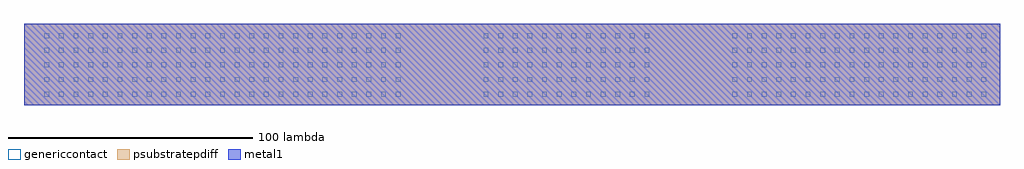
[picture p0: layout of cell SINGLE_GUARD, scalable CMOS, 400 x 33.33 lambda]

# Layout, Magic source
magic
tech scmos
magscale 1 6
<< psubstratepdiff >>
rect 0 0 2400 200
<< metal1 >>
rect 0 0 2400 200
use CONT  CONT_0
transform 1 0 164 0 1 63
box -6 -6 6 6
use CONT  CONT_1
transform 1 0 128 0 1 63
box -6 -6 6 6
use CONT  CONT_2
transform 1 0 92 0 1 63
box -6 -6 6 6
use CONT  CONT_3
transform 1 0 236 0 1 27
box -6 -6 6 6
use CONT  CONT_4
transform 1 0 200 0 1 27
box -6 -6 6 6
use CONT  CONT_5
transform 1 0 164 0 1 27
box -6 -6 6 6
use CONT  CONT_6
transform 1 0 524 0 1 63
box -6 -6 6 6
use CONT  CONT_7
transform 1 0 488 0 1 63
box -6 -6 6 6
use CONT  CONT_8
transform 1 0 452 0 1 63
box -6 -6 6 6
use CONT  CONT_9
transform 1 0 416 0 1 63
box -6 -6 6 6
use CONT  CONT_10
transform 1 0 380 0 1 63
box -6 -6 6 6
use CONT  CONT_11
transform 1 0 344 0 1 63
box -6 -6 6 6
use CONT  CONT_12
transform 1 0 308 0 1 63
box -6 -6 6 6
use CONT  CONT_13
transform 1 0 272 0 1 63
box -6 -6 6 6
use CONT  CONT_14
transform 1 0 596 0 1 99
box -6 -6 6 6
use CONT  CONT_15
transform 1 0 560 0 1 99
box -6 -6 6 6
use CONT  CONT_16
transform 1 0 524 0 1 99
box -6 -6 6 6
use CONT  CONT_17
transform 1 0 488 0 1 99
box -6 -6 6 6
use CONT  CONT_18
transform 1 0 452 0 1 99
box -6 -6 6 6
use CONT  CONT_19
transform 1 0 416 0 1 99
box -6 -6 6 6
use CONT  CONT_20
transform 1 0 380 0 1 99
box -6 -6 6 6
use CONT  CONT_21
transform 1 0 344 0 1 99
box -6 -6 6 6
use CONT  CONT_22
transform 1 0 308 0 1 99
box -6 -6 6 6
use CONT  CONT_23
transform 1 0 272 0 1 99
box -6 -6 6 6
use CONT  CONT_24
transform 1 0 236 0 1 99
box -6 -6 6 6
use CONT  CONT_25
transform 1 0 200 0 1 99
box -6 -6 6 6
use CONT  CONT_26
transform 1 0 164 0 1 99
box -6 -6 6 6
use CONT  CONT_27
transform 1 0 128 0 1 99
box -6 -6 6 6
use CONT  CONT_28
transform 1 0 236 0 1 63
box -6 -6 6 6
use CONT  CONT_29
transform 1 0 200 0 1 63
box -6 -6 6 6
use CONT  CONT_30
transform 1 0 596 0 1 63
box -6 -6 6 6
use CONT  CONT_31
transform 1 0 596 0 1 135
box -6 -6 6 6
use CONT  CONT_32
transform 1 0 560 0 1 135
box -6 -6 6 6
use CONT  CONT_33
transform 1 0 524 0 1 135
box -6 -6 6 6
use CONT  CONT_34
transform 1 0 488 0 1 135
box -6 -6 6 6
use CONT  CONT_35
transform 1 0 452 0 1 135
box -6 -6 6 6
use CONT  CONT_36
transform 1 0 416 0 1 135
box -6 -6 6 6
use CONT  CONT_37
transform 1 0 380 0 1 135
box -6 -6 6 6
use CONT  CONT_38
transform 1 0 344 0 1 135
box -6 -6 6 6
use CONT  CONT_39
transform 1 0 596 0 1 171
box -6 -6 6 6
use CONT  CONT_40
transform 1 0 560 0 1 171
box -6 -6 6 6
use CONT  CONT_41
transform 1 0 524 0 1 171
box -6 -6 6 6
use CONT  CONT_42
transform 1 0 488 0 1 171
box -6 -6 6 6
use CONT  CONT_43
transform 1 0 452 0 1 171
box -6 -6 6 6
use CONT  CONT_44
transform 1 0 416 0 1 171
box -6 -6 6 6
use CONT  CONT_45
transform 1 0 380 0 1 171
box -6 -6 6 6
use CONT  CONT_46
transform 1 0 344 0 1 171
box -6 -6 6 6
use CONT  CONT_47
transform 1 0 308 0 1 171
box -6 -6 6 6
use CONT  CONT_48
transform 1 0 272 0 1 171
box -6 -6 6 6
use CONT  CONT_49
transform 1 0 236 0 1 171
box -6 -6 6 6
use CONT  CONT_50
transform 1 0 200 0 1 171
box -6 -6 6 6
use CONT  CONT_51
transform 1 0 164 0 1 171
box -6 -6 6 6
use CONT  CONT_52
transform 1 0 128 0 1 171
box -6 -6 6 6
use CONT  CONT_53
transform 1 0 92 0 1 171
box -6 -6 6 6
use CONT  CONT_54
transform 1 0 56 0 1 171
box -6 -6 6 6
use CONT  CONT_55
transform 1 0 92 0 1 99
box -6 -6 6 6
use CONT  CONT_56
transform 1 0 56 0 1 99
box -6 -6 6 6
use CONT  CONT_57
transform 1 0 56 0 1 63
box -6 -6 6 6
use CONT  CONT_58
transform 1 0 56 0 1 27
box -6 -6 6 6
use CONT  CONT_59
transform 1 0 308 0 1 135
box -6 -6 6 6
use CONT  CONT_60
transform 1 0 272 0 1 135
box -6 -6 6 6
use CONT  CONT_61
transform 1 0 236 0 1 135
box -6 -6 6 6
use CONT  CONT_62
transform 1 0 200 0 1 135
box -6 -6 6 6
use CONT  CONT_63
transform 1 0 164 0 1 135
box -6 -6 6 6
use CONT  CONT_64
transform 1 0 128 0 1 135
box -6 -6 6 6
use CONT  CONT_65
transform 1 0 92 0 1 135
box -6 -6 6 6
use CONT  CONT_66
transform 1 0 56 0 1 135
box -6 -6 6 6
use CONT  CONT_67
transform 1 0 128 0 1 27
box -6 -6 6 6
use CONT  CONT_68
transform 1 0 92 0 1 27
box -6 -6 6 6
use CONT  CONT_69
transform 1 0 560 0 1 63
box -6 -6 6 6
use CONT  CONT_70
transform 1 0 596 0 1 27
box -6 -6 6 6
use CONT  CONT_71
transform 1 0 560 0 1 27
box -6 -6 6 6
use CONT  CONT_72
transform 1 0 524 0 1 27
box -6 -6 6 6
use CONT  CONT_73
transform 1 0 488 0 1 27
box -6 -6 6 6
use CONT  CONT_74
transform 1 0 452 0 1 27
box -6 -6 6 6
use CONT  CONT_75
transform 1 0 416 0 1 27
box -6 -6 6 6
use CONT  CONT_76
transform 1 0 380 0 1 27
box -6 -6 6 6
use CONT  CONT_77
transform 1 0 344 0 1 27
box -6 -6 6 6
use CONT  CONT_78
transform 1 0 308 0 1 27
box -6 -6 6 6
use CONT  CONT_79
transform 1 0 272 0 1 27
box -6 -6 6 6
use CONT  CONT_80
transform 1 0 1172 0 1 99
box -6 -6 6 6
use CONT  CONT_81
transform 1 0 1136 0 1 99
box -6 -6 6 6
use CONT  CONT_82
transform 1 0 920 0 1 99
box -6 -6 6 6
use CONT  CONT_83
transform 1 0 884 0 1 99
box -6 -6 6 6
use CONT  CONT_84
transform 1 0 848 0 1 99
box -6 -6 6 6
use CONT  CONT_85
transform 1 0 812 0 1 99
box -6 -6 6 6
use CONT  CONT_86
transform 1 0 776 0 1 99
box -6 -6 6 6
use CONT  CONT_87
transform 1 0 740 0 1 99
box -6 -6 6 6
use CONT  CONT_88
transform 1 0 704 0 1 99
box -6 -6 6 6
use CONT  CONT_89
transform 1 0 668 0 1 99
box -6 -6 6 6
use CONT  CONT_90
transform 1 0 776 0 1 63
box -6 -6 6 6
use CONT  CONT_91
transform 1 0 1172 0 1 171
box -6 -6 6 6
use CONT  CONT_92
transform 1 0 1136 0 1 171
box -6 -6 6 6
use CONT  CONT_93
transform 1 0 920 0 1 171
box -6 -6 6 6
use CONT  CONT_94
transform 1 0 884 0 1 171
box -6 -6 6 6
use CONT  CONT_95
transform 1 0 848 0 1 171
box -6 -6 6 6
use CONT  CONT_96
transform 1 0 812 0 1 171
box -6 -6 6 6
use CONT  CONT_97
transform 1 0 776 0 1 171
box -6 -6 6 6
use CONT  CONT_98
transform 1 0 740 0 1 171
box -6 -6 6 6
use CONT  CONT_99
transform 1 0 704 0 1 171
box -6 -6 6 6
use CONT  CONT_100
transform 1 0 668 0 1 171
box -6 -6 6 6
use CONT  CONT_101
transform 1 0 740 0 1 63
box -6 -6 6 6
use CONT  CONT_102
transform 1 0 1172 0 1 27
box -6 -6 6 6
use CONT  CONT_103
transform 1 0 1136 0 1 27
box -6 -6 6 6
use CONT  CONT_104
transform 1 0 920 0 1 27
box -6 -6 6 6
use CONT  CONT_105
transform 1 0 884 0 1 27
box -6 -6 6 6
use CONT  CONT_106
transform 1 0 848 0 1 27
box -6 -6 6 6
use CONT  CONT_107
transform 1 0 812 0 1 27
box -6 -6 6 6
use CONT  CONT_108
transform 1 0 776 0 1 27
box -6 -6 6 6
use CONT  CONT_109
transform 1 0 740 0 1 27
box -6 -6 6 6
use CONT  CONT_110
transform 1 0 704 0 1 27
box -6 -6 6 6
use CONT  CONT_111
transform 1 0 668 0 1 27
box -6 -6 6 6
use CONT  CONT_112
transform 1 0 704 0 1 63
box -6 -6 6 6
use CONT  CONT_113
transform 1 0 1172 0 1 135
box -6 -6 6 6
use CONT  CONT_114
transform 1 0 1136 0 1 135
box -6 -6 6 6
use CONT  CONT_115
transform 1 0 920 0 1 135
box -6 -6 6 6
use CONT  CONT_116
transform 1 0 884 0 1 135
box -6 -6 6 6
use CONT  CONT_117
transform 1 0 848 0 1 135
box -6 -6 6 6
use CONT  CONT_118
transform 1 0 812 0 1 135
box -6 -6 6 6
use CONT  CONT_119
transform 1 0 776 0 1 135
box -6 -6 6 6
use CONT  CONT_120
transform 1 0 740 0 1 135
box -6 -6 6 6
use CONT  CONT_121
transform 1 0 704 0 1 135
box -6 -6 6 6
use CONT  CONT_122
transform 1 0 668 0 1 135
box -6 -6 6 6
use CONT  CONT_123
transform 1 0 668 0 1 63
box -6 -6 6 6
use CONT  CONT_124
transform 1 0 1172 0 1 63
box -6 -6 6 6
use CONT  CONT_125
transform 1 0 1136 0 1 63
box -6 -6 6 6
use CONT  CONT_126
transform 1 0 920 0 1 63
box -6 -6 6 6
use CONT  CONT_127
transform 1 0 884 0 1 63
box -6 -6 6 6
use CONT  CONT_128
transform 1 0 848 0 1 63
box -6 -6 6 6
use CONT  CONT_129
transform 1 0 812 0 1 63
box -6 -6 6 6
use CONT  CONT_130
transform 1 0 632 0 1 99
box -6 -6 6 6
use CONT  CONT_131
transform 1 0 632 0 1 171
box -6 -6 6 6
use CONT  CONT_132
transform 1 0 632 0 1 27
box -6 -6 6 6
use CONT  CONT_133
transform 1 0 632 0 1 135
box -6 -6 6 6
use CONT  CONT_134
transform 1 0 632 0 1 63
box -6 -6 6 6
use CONT  CONT_135
transform 1 0 1388 0 1 135
box -6 -6 6 6
use CONT  CONT_136
transform 1 0 1352 0 1 135
box -6 -6 6 6
use CONT  CONT_137
transform 1 0 1316 0 1 135
box -6 -6 6 6
use CONT  CONT_138
transform 1 0 1280 0 1 135
box -6 -6 6 6
use CONT  CONT_139
transform 1 0 1244 0 1 135
box -6 -6 6 6
use CONT  CONT_140
transform 1 0 1316 0 1 27
box -6 -6 6 6
use CONT  CONT_141
transform 1 0 1748 0 1 63
box -6 -6 6 6
use CONT  CONT_142
transform 1 0 1532 0 1 63
box -6 -6 6 6
use CONT  CONT_143
transform 1 0 1496 0 1 63
box -6 -6 6 6
use CONT  CONT_144
transform 1 0 1460 0 1 63
box -6 -6 6 6
use CONT  CONT_145
transform 1 0 1424 0 1 63
box -6 -6 6 6
use CONT  CONT_146
transform 1 0 1388 0 1 63
box -6 -6 6 6
use CONT  CONT_147
transform 1 0 1352 0 1 63
box -6 -6 6 6
use CONT  CONT_148
transform 1 0 1316 0 1 63
box -6 -6 6 6
use CONT  CONT_149
transform 1 0 1280 0 1 63
box -6 -6 6 6
use CONT  CONT_150
transform 1 0 1244 0 1 63
box -6 -6 6 6
use CONT  CONT_151
transform 1 0 1244 0 1 27
box -6 -6 6 6
use CONT  CONT_152
transform 1 0 1748 0 1 171
box -6 -6 6 6
use CONT  CONT_153
transform 1 0 1532 0 1 171
box -6 -6 6 6
use CONT  CONT_154
transform 1 0 1496 0 1 171
box -6 -6 6 6
use CONT  CONT_155
transform 1 0 1460 0 1 171
box -6 -6 6 6
use CONT  CONT_156
transform 1 0 1424 0 1 171
box -6 -6 6 6
use CONT  CONT_157
transform 1 0 1388 0 1 171
box -6 -6 6 6
use CONT  CONT_158
transform 1 0 1352 0 1 171
box -6 -6 6 6
use CONT  CONT_159
transform 1 0 1316 0 1 171
box -6 -6 6 6
use CONT  CONT_160
transform 1 0 1280 0 1 171
box -6 -6 6 6
use CONT  CONT_161
transform 1 0 1244 0 1 171
box -6 -6 6 6
use CONT  CONT_162
transform 1 0 1352 0 1 27
box -6 -6 6 6
use CONT  CONT_163
transform 1 0 1532 0 1 27
box -6 -6 6 6
use CONT  CONT_164
transform 1 0 1496 0 1 27
box -6 -6 6 6
use CONT  CONT_165
transform 1 0 1460 0 1 27
box -6 -6 6 6
use CONT  CONT_166
transform 1 0 1424 0 1 27
box -6 -6 6 6
use CONT  CONT_167
transform 1 0 1388 0 1 27
box -6 -6 6 6
use CONT  CONT_168
transform 1 0 1748 0 1 27
box -6 -6 6 6
use CONT  CONT_169
transform 1 0 1748 0 1 99
box -6 -6 6 6
use CONT  CONT_170
transform 1 0 1532 0 1 99
box -6 -6 6 6
use CONT  CONT_171
transform 1 0 1496 0 1 99
box -6 -6 6 6
use CONT  CONT_172
transform 1 0 1460 0 1 99
box -6 -6 6 6
use CONT  CONT_173
transform 1 0 1424 0 1 99
box -6 -6 6 6
use CONT  CONT_174
transform 1 0 1388 0 1 99
box -6 -6 6 6
use CONT  CONT_175
transform 1 0 1352 0 1 99
box -6 -6 6 6
use CONT  CONT_176
transform 1 0 1316 0 1 99
box -6 -6 6 6
use CONT  CONT_177
transform 1 0 1280 0 1 99
box -6 -6 6 6
use CONT  CONT_178
transform 1 0 1244 0 1 99
box -6 -6 6 6
use CONT  CONT_179
transform 1 0 1280 0 1 27
box -6 -6 6 6
use CONT  CONT_180
transform 1 0 1748 0 1 135
box -6 -6 6 6
use CONT  CONT_181
transform 1 0 1532 0 1 135
box -6 -6 6 6
use CONT  CONT_182
transform 1 0 1496 0 1 135
box -6 -6 6 6
use CONT  CONT_183
transform 1 0 1460 0 1 135
box -6 -6 6 6
use CONT  CONT_184
transform 1 0 1424 0 1 135
box -6 -6 6 6
use CONT  CONT_185
transform 1 0 2360 0 1 171
box -6 -6 6 6
use CONT  CONT_186
transform 1 0 2324 0 1 171
box -6 -6 6 6
use CONT  CONT_187
transform 1 0 2288 0 1 171
box -6 -6 6 6
use CONT  CONT_188
transform 1 0 2252 0 1 171
box -6 -6 6 6
use CONT  CONT_189
transform 1 0 2216 0 1 171
box -6 -6 6 6
use CONT  CONT_190
transform 1 0 2180 0 1 171
box -6 -6 6 6
use CONT  CONT_191
transform 1 0 2144 0 1 171
box -6 -6 6 6
use CONT  CONT_192
transform 1 0 2108 0 1 171
box -6 -6 6 6
use CONT  CONT_193
transform 1 0 2072 0 1 171
box -6 -6 6 6
use CONT  CONT_194
transform 1 0 2036 0 1 171
box -6 -6 6 6
use CONT  CONT_195
transform 1 0 2000 0 1 171
box -6 -6 6 6
use CONT  CONT_196
transform 1 0 1964 0 1 171
box -6 -6 6 6
use CONT  CONT_197
transform 1 0 1928 0 1 171
box -6 -6 6 6
use CONT  CONT_198
transform 1 0 1892 0 1 171
box -6 -6 6 6
use CONT  CONT_199
transform 1 0 1856 0 1 171
box -6 -6 6 6
use CONT  CONT_200
transform 1 0 1820 0 1 171
box -6 -6 6 6
use CONT  CONT_201
transform 1 0 1928 0 1 27
box -6 -6 6 6
use CONT  CONT_202
transform 1 0 2360 0 1 135
box -6 -6 6 6
use CONT  CONT_203
transform 1 0 2324 0 1 135
box -6 -6 6 6
use CONT  CONT_204
transform 1 0 2288 0 1 135
box -6 -6 6 6
use CONT  CONT_205
transform 1 0 2252 0 1 135
box -6 -6 6 6
use CONT  CONT_206
transform 1 0 2216 0 1 135
box -6 -6 6 6
use CONT  CONT_207
transform 1 0 2180 0 1 135
box -6 -6 6 6
use CONT  CONT_208
transform 1 0 2144 0 1 135
box -6 -6 6 6
use CONT  CONT_209
transform 1 0 2108 0 1 135
box -6 -6 6 6
use CONT  CONT_210
transform 1 0 2072 0 1 135
box -6 -6 6 6
use CONT  CONT_211
transform 1 0 2036 0 1 135
box -6 -6 6 6
use CONT  CONT_212
transform 1 0 2000 0 1 135
box -6 -6 6 6
use CONT  CONT_213
transform 1 0 1964 0 1 135
box -6 -6 6 6
use CONT  CONT_214
transform 1 0 1928 0 1 135
box -6 -6 6 6
use CONT  CONT_215
transform 1 0 1892 0 1 135
box -6 -6 6 6
use CONT  CONT_216
transform 1 0 1856 0 1 135
box -6 -6 6 6
use CONT  CONT_217
transform 1 0 1820 0 1 135
box -6 -6 6 6
use CONT  CONT_218
transform 1 0 1892 0 1 27
box -6 -6 6 6
use CONT  CONT_219
transform 1 0 2360 0 1 99
box -6 -6 6 6
use CONT  CONT_220
transform 1 0 2324 0 1 99
box -6 -6 6 6
use CONT  CONT_221
transform 1 0 2288 0 1 99
box -6 -6 6 6
use CONT  CONT_222
transform 1 0 2252 0 1 99
box -6 -6 6 6
use CONT  CONT_223
transform 1 0 2216 0 1 99
box -6 -6 6 6
use CONT  CONT_224
transform 1 0 2180 0 1 99
box -6 -6 6 6
use CONT  CONT_225
transform 1 0 2144 0 1 99
box -6 -6 6 6
use CONT  CONT_226
transform 1 0 2108 0 1 99
box -6 -6 6 6
use CONT  CONT_227
transform 1 0 2072 0 1 99
box -6 -6 6 6
use CONT  CONT_228
transform 1 0 2036 0 1 99
box -6 -6 6 6
use CONT  CONT_229
transform 1 0 2000 0 1 99
box -6 -6 6 6
use CONT  CONT_230
transform 1 0 1964 0 1 99
box -6 -6 6 6
use CONT  CONT_231
transform 1 0 1928 0 1 99
box -6 -6 6 6
use CONT  CONT_232
transform 1 0 1892 0 1 99
box -6 -6 6 6
use CONT  CONT_233
transform 1 0 1856 0 1 99
box -6 -6 6 6
use CONT  CONT_234
transform 1 0 1820 0 1 99
box -6 -6 6 6
use CONT  CONT_235
transform 1 0 1856 0 1 27
box -6 -6 6 6
use CONT  CONT_236
transform 1 0 2360 0 1 63
box -6 -6 6 6
use CONT  CONT_237
transform 1 0 2324 0 1 63
box -6 -6 6 6
use CONT  CONT_238
transform 1 0 2288 0 1 63
box -6 -6 6 6
use CONT  CONT_239
transform 1 0 2252 0 1 63
box -6 -6 6 6
use CONT  CONT_240
transform 1 0 2216 0 1 63
box -6 -6 6 6
use CONT  CONT_241
transform 1 0 2180 0 1 63
box -6 -6 6 6
use CONT  CONT_242
transform 1 0 2144 0 1 63
box -6 -6 6 6
use CONT  CONT_243
transform 1 0 2108 0 1 63
box -6 -6 6 6
use CONT  CONT_244
transform 1 0 2072 0 1 63
box -6 -6 6 6
use CONT  CONT_245
transform 1 0 2036 0 1 63
box -6 -6 6 6
use CONT  CONT_246
transform 1 0 2000 0 1 63
box -6 -6 6 6
use CONT  CONT_247
transform 1 0 1964 0 1 63
box -6 -6 6 6
use CONT  CONT_248
transform 1 0 1928 0 1 63
box -6 -6 6 6
use CONT  CONT_249
transform 1 0 1892 0 1 63
box -6 -6 6 6
use CONT  CONT_250
transform 1 0 1856 0 1 63
box -6 -6 6 6
use CONT  CONT_251
transform 1 0 1820 0 1 63
box -6 -6 6 6
use CONT  CONT_252
transform 1 0 1820 0 1 27
box -6 -6 6 6
use CONT  CONT_253
transform 1 0 2360 0 1 27
box -6 -6 6 6
use CONT  CONT_254
transform 1 0 2324 0 1 27
box -6 -6 6 6
use CONT  CONT_255
transform 1 0 2288 0 1 27
box -6 -6 6 6
use CONT  CONT_256
transform 1 0 2252 0 1 27
box -6 -6 6 6
use CONT  CONT_257
transform 1 0 2216 0 1 27
box -6 -6 6 6
use CONT  CONT_258
transform 1 0 2180 0 1 27
box -6 -6 6 6
use CONT  CONT_259
transform 1 0 2144 0 1 27
box -6 -6 6 6
use CONT  CONT_260
transform 1 0 2108 0 1 27
box -6 -6 6 6
use CONT  CONT_261
transform 1 0 2072 0 1 27
box -6 -6 6 6
use CONT  CONT_262
transform 1 0 2036 0 1 27
box -6 -6 6 6
use CONT  CONT_263
transform 1 0 2000 0 1 27
box -6 -6 6 6
use CONT  CONT_264
transform 1 0 1964 0 1 27
box -6 -6 6 6
use CONT  CONT_265
transform 1 0 1784 0 1 171
box -6 -6 6 6
use CONT  CONT_266
transform 1 0 1784 0 1 135
box -6 -6 6 6
use CONT  CONT_267
transform 1 0 1784 0 1 99
box -6 -6 6 6
use CONT  CONT_268
transform 1 0 1784 0 1 63
box -6 -6 6 6
use CONT  CONT_269
transform 1 0 1784 0 1 27
box -6 -6 6 6
use CONT  CONT_270
transform 1 0 1208 0 1 171
box -6 -6 6 6
use CONT  CONT_271
transform 1 0 1208 0 1 135
box -6 -6 6 6
use CONT  CONT_272
transform 1 0 1208 0 1 99
box -6 -6 6 6
use CONT  CONT_273
transform 1 0 1208 0 1 63
box -6 -6 6 6
use CONT  CONT_274
transform 1 0 1208 0 1 27
box -6 -6 6 6
<< end >>

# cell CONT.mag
magic
tech scmos
<< genericcontact >>
rect -1 -1 1 1
<< end >>
